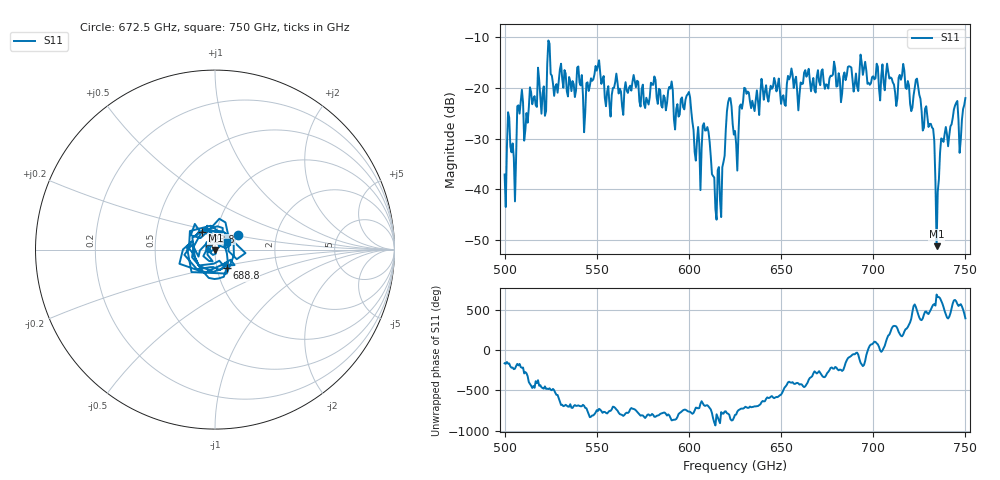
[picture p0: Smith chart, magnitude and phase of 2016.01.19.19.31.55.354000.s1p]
!Created with skrf (http://scikit-rf.org).
# GHz S RI R 50.0
!freq ReS11 ImS11
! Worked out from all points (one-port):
!   401 points, 500 GHz to 750 GHz, reference 50 ohm
!   lowest |S11| = -51.2 dB at 734.4 GHz (marker M1), VSWR 1.01, Z = 50.2 - j0.156 ohm
!   |S11| at or under -10 dB: start of sweep to end of sweep
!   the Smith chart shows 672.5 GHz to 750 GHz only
!   S11 on the Smith chart (normalised r, x): 672.5 GHz: 1.27, +0.22; 688.8 GHz: 1.11, -0.23; 723.8 GHz: 0.85, +0.17; 750 GHz: 1.14, +0.10
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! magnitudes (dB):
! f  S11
! 500 GHz  -37.0
! 502.5 GHz  -25.8
! 505 GHz  -33.7
! 508.1 GHz  -25.0
! 511.9 GHz  -24.9
! 521.2 GHz  -19.7
! 524.4 GHz  -11.2
! 531.2 GHz  -18.2
! 562.5 GHz  -20.1
! 590 GHz  -20.1
! 593.8 GHz  -23.2
! 599.4 GHz  -21.2
! 605 GHz  -27.7
! 609.4 GHz  -28.3
! 616.2 GHz  -35.6
! 621.9 GHz  -22.0
! 625 GHz  -28.5
! 631.2 GHz  -21.1
! 656.2 GHz  -17.4
! 672.5 GHz  -16.3
! 687.5 GHz  -15.8
! 688.8 GHz  -18.3
! 718.8 GHz  -18.6
! 723.8 GHz  -18.1
! 731.9 GHz  -27.8
! 734.4 GHz  -51.2
! 738.1 GHz  -30.6
! 750 GHz  -22.0
